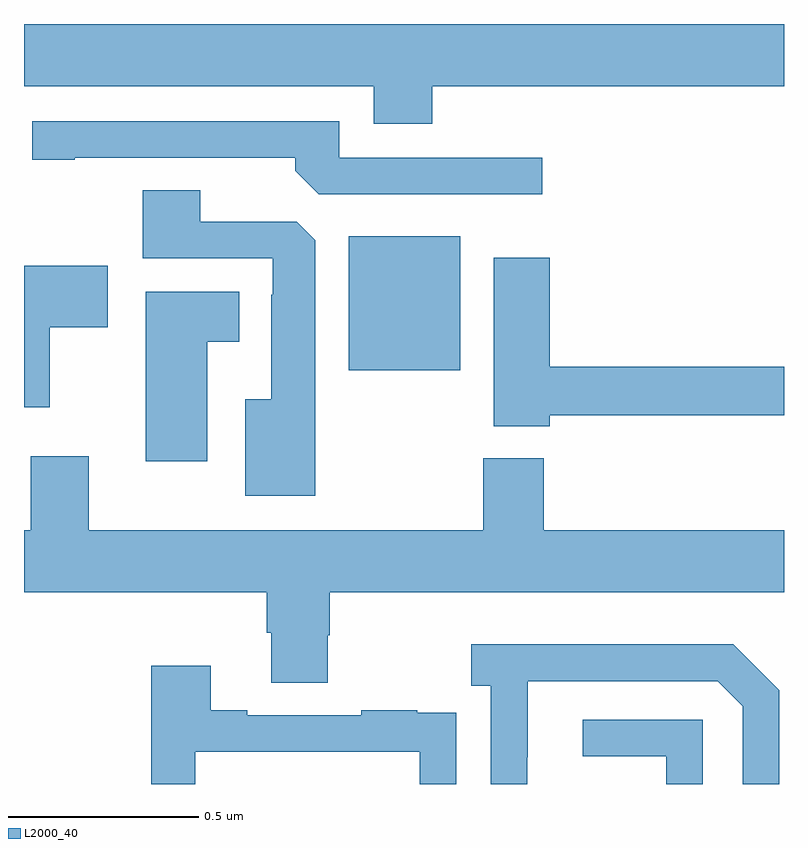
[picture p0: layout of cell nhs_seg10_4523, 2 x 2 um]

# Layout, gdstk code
import gdstk
lib = gdstk.Library(unit=1e-6, precision=1e-09)
def R(c, l, rs):  # rectangles x0, y0, x1, y1
    for r in rs: c.add(gdstk.rectangle(r[:2], r[2:], *l))
def P(c, l, *ps):  # polygons
    for p in ps: c.add(gdstk.Polygon(p, *l))
L2000_40 = (2000, 40)

nhs_seg10_4523 = lib.new_cell('nhs_seg10_4523')
R(nhs_seg10_4523, L2000_40, [(167.855,1279.589,168.148,1279.942)])
P(nhs_seg10_4523, L2000_40, [(168.074,1280.336),(169,1280.336),(169,1280.5),(167,1280.5),(167,1280.336),(167.921,1280.336),(167.921,1280.237),(168.074,1280.237)],
  [(168.364,1280.148),(167.829,1280.148),(167.829,1280.244),(167.022,1280.244),(167.022,1280.143),(167.134,1280.143),(167.134,1280.148),(167.714,1280.148),(167.714,1280.114),(167.775,1280.052),(168.364,1280.052)],
  [(167.767,1279.931),(167.718,1279.98),(167.464,1279.98),(167.464,1280.063),(167.312,1280.063),(167.312,1279.884),(167.655,1279.884),(167.655,1279.787),(167.651,1279.787),(167.651,1279.513),(167.582,1279.513),(167.582,1279.259),(167.767,1279.259)],
  [(168.383,1279.47),(169,1279.47),(169,1279.598),(168.383,1279.598),(168.383,1279.885),(168.236,1279.885),(168.236,1279.442),(168.383,1279.442)],
  [(167.068,1279.702),(167.221,1279.702),(167.221,1279.864),(167,1279.864),(167,1279.491),(167.068,1279.491)],
  [(167.482,1279.664),(167.566,1279.664),(167.566,1279.795),(167.321,1279.795),(167.321,1279.35),(167.482,1279.35)],
  [(167.799,1278.891),(167.804,1278.891),(167.804,1279.004),(169,1279.004),(169,1279.168),(168.368,1279.168),(168.368,1279.357),(168.208,1279.357),(168.208,1279.168),(167.17,1279.168),(167.17,1279.363),(167.018,1279.363),(167.018,1279.168),(167,1279.168),(167,1279.004),(167.639,1279.004),(167.639,1278.898),(167.651,1278.898),(167.651,1278.766),(167.799,1278.766)],
  [(168.324,1278.571),(168.325,1278.571),(168.325,1278.771),(168.825,1278.771),(168.891,1278.705),(168.891,1278.5),(168.987,1278.5),(168.987,1278.747),(168.866,1278.868),(168.177,1278.868),(168.177,1278.758),(168.228,1278.758),(168.228,1278.5),(168.324,1278.5)],
  [(167.451,1278.585),(168.042,1278.585),(168.042,1278.5),(168.138,1278.5),(168.138,1278.578),(168.137,1278.578),(168.137,1278.687),(168.035,1278.687),(168.035,1278.694),(167.887,1278.694),(167.887,1278.681),(167.587,1278.681),(167.587,1278.694),(167.491,1278.694),(167.491,1278.811),(167.335,1278.811),(167.335,1278.5),(167.451,1278.5)],
  [(168.786,1278.669),(168.471,1278.669),(168.471,1278.573),(168.69,1278.573),(168.69,1278.5),(168.786,1278.5)])

lib.write_gds('nhs_seg10_4523.gds')
